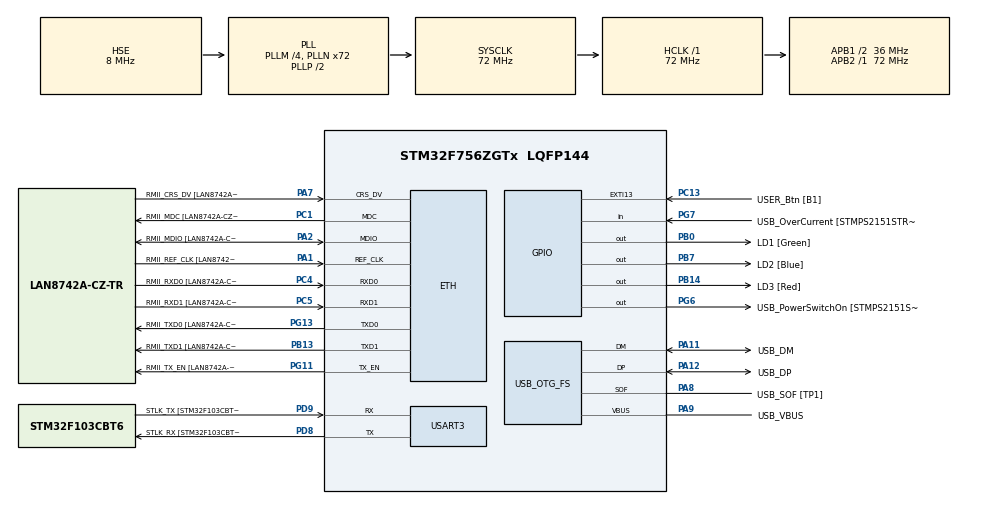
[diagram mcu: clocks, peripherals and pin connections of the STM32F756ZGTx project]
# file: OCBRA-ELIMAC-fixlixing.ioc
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ETH.MediaInterface=HAL_ETH_RMII_MODE
ETH.PHY_Name=LAN8742A_PHY_ADDRESS
ETH.PHY_Value=0
ETH.PhyAddress=0
Mcu.Family=STM32F7
Mcu.Name=STM32F756ZGTx
Mcu.Package=LQFP144
NVIC.PriorityGroup=NVIC_PRIORITYGROUP_4
PA1.GPIO_Label=RMII_REF_CLK [LAN8742A-CZ-TR_REFCLK0]
PA1.Mode=RMII
PA1.Signal=ETH_REF_CLK
PA10.GPIO_Label=USB_ID
PA10.Signal=USB_OTG_FS_ID
PA11.GPIO_Label=USB_DM
PA11.Mode=Device_Only
PA11.Signal=USB_OTG_FS_DM
PA12.GPIO_Label=USB_DP
PA12.Mode=Device_Only
PA12.Signal=USB_OTG_FS_DP
PA13.GPIO_Label=TMS
PA13.Mode=Serial_Wire
PA13.Signal=SYS_JTMS-SWDIO
PA14.GPIO_Label=TCK
PA14.Mode=Serial_Wire
PA14.Signal=SYS_JTCK-SWCLK
PA2.GPIO_Label=RMII_MDIO [LAN8742A-CZ-TR_MDIO]
PA2.Mode=RMII
PA2.Signal=ETH_MDIO
PA7.GPIO_Label=RMII_CRS_DV [LAN8742A-CZ-TR_CRS_DV]
PA7.Mode=RMII
PA7.Signal=ETH_CRS_DV
PA8.GPIO_Label=USB_SOF [TP1]
PA8.Mode=Activate_SOF_FS
PA8.Signal=USB_OTG_FS_SOF
PA9.GPIO_Label=USB_VBUS
PA9.Mode=Activate_VBUS
PA9.Signal=USB_OTG_FS_VBUS
PB0.GPIO_Label=LD1 [Green]
PB0.Signal=GPIO_Output
PB13.GPIO_Label=RMII_TXD1 [LAN8742A-CZ-TR_TXD1]
PB13.Mode=RMII
PB13.Signal=ETH_TXD1
PB14.GPIO_Label=LD3 [Red]
PB14.Signal=GPIO_Output
PB3.GPIO_Label=SW0
PB3.Signal=SYS_JTDO-SWO
PB7.GPIO_Label=LD2 [Blue]
PB7.Signal=GPIO_Output
PC1.GPIO_Label=RMII_MDC [LAN8742A-CZ-TR_MDC]
PC1.Mode=RMII
PC1.Signal=ETH_MDC
PC13.GPIO_Label=USER_Btn [B1]
PC13.Signal=GPXTI13
PC14/OSC32_IN.Mode=LSE-External-Oscillator
PC14/OSC32_IN.Signal=RCC_OSC32_IN
PC15/OSC32_OUT.Mode=LSE-External-Oscillator
PC15/OSC32_OUT.Signal=RCC_OSC32_OUT
PC4.GPIO_Label=RMII_RXD0 [LAN8742A-CZ-TR_RXD0]
PC4.Mode=RMII
PC4.Signal=ETH_RXD0
PC5.GPIO_Label=RMII_RXD1 [LAN8742A-CZ-TR_RXD1]
PC5.Mode=RMII
PC5.Signal=ETH_RXD1
PD8.GPIO_Label=STLK_RX [STM32F103CBT6_PA3]
PD8.Mode=Asynchronous
PD8.Signal=USART3_TX
PD9.GPIO_Label=STLK_TX [STM32F103CBT6_PA2]
PD9.Mode=Asynchronous
PD9.Signal=USART3_RX
PG11.GPIO_Label=RMII_TX_EN [LAN8742A-CZ-TR_TXEN]
PG11.Mode=RMII
PG11.Signal=ETH_TX_EN
PG13.GPIO_Label=RMII_TXD0 [LAN8742A-CZ-TR_TXD0]
PG13.Mode=RMII
PG13.Signal=ETH_TXD0
PG6.GPIO_Label=USB_PowerSwitchOn [STMPS2151STR_EN]
PG6.Signal=GPIO_Output
PG7.GPIO_Label=USB_OverCurrent [STMPS2151STR_FAULT]
PG7.Signal=GPIO_Input
PH0/OSC_IN.GPIO_Label=MCO [STM32F103CBT6_PA8]
PH0/OSC_IN.Mode=HSE-External-Clock-Source
PH0/OSC_IN.Signal=RCC_OSC_IN
PH1/OSC_OUT.Mode=HSE-External-Clock-Source
PH1/OSC_OUT.Signal=RCC_OSC_OUT
ProjectManager.HeapSize=0x200
ProjectManager.StackSize=0x400
ProjectManager.TargetToolchain=STM32CubeIDE
RCC.48MHZClocksFreq_Value=24000000
RCC.AHBFreq_Value=72000000
RCC.APB1CLKDivider=RCC_HCLK_DIV2
RCC.APB1Freq_Value=36000000
RCC.APB1TimFreq_Value=72000000
RCC.APB2Freq_Value=72000000
RCC.APB2TimFreq_Value=72000000
RCC.CortexFreq_Value=72000000
RCC.HCLKFreq_Value=72000000
RCC.HSE_VALUE=8000000
RCC.HSI_VALUE=16000000
RCC.PLLM=4
RCC.PLLMUL=RCC_PLL_MUL9
RCC.PLLN=72
RCC.PLLQ=3
RCC.PRESCALERUSB=RCC_USBCLKSOURCE_PLL_DIV1_5
RCC.SYSCLKFreq_VALUE=72000000
RCC.SYSCLKSource=RCC_SYSCLKSOURCE_PLLCLK
RCC.SYSCLKSourceVirtual=RCC_SYSCLKSOURCE_PLLCLK
RCC.USBFreq_Value=48000000
RCC.VCOOutputFreq_Value=144000000
USART3.VirtualMode-Asynchronous=VM_ASYNC
USB_OTG_FS.VirtualMode=Device_Only
board=NUCLEO-F756ZG

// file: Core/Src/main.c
/* USER CODE BEGIN Header */
/**
  ******************************************************************************
  * @file           : main.c
  * @brief          : Main program body
  ******************************************************************************
  * @attention
  *
  * Copyright (c) 2023 STMicroelectronics.
  * All rights reserved.
  *
  * This software is licensed under terms that can be found in the LICENSE file
  * in the root directory of this software component.
  * If no LICENSE file comes with this software, it is provided AS-IS.
  *
  ******************************************************************************
  */
/* USER CODE END Header */
#include "main.h"
#include "string.h"

/* USER CODE BEGIN Includes */
#include "EliMAC_OCBRA_fixlixing_AES/fixslicing/ELIMAC.h"
#include "EliMAC_OCBRA_fixlixing_AES/fixslicing/OCBRA.h"
#include "Serial.h"
#include "EliMAC_OCBRA_fixlixing_AES/fixslicing/OCB3.h"
/* USER CODE END Includes */

/* USER CODE BEGIN PD */
#define plaintext_size 4096
/* USER CODE END PD */

#if defined ( __ICCARM__ ) /*!< IAR Compiler */
#pragma location=0x2004c000
ETH_DMADescTypeDef  DMARxDscrTab[ETH_RX_DESC_CNT]; /* Ethernet Rx DMA Descriptors */
#pragma location=0x2004c0a0
ETH_DMADescTypeDef  DMATxDscrTab[ETH_TX_DESC_CNT]; /* Ethernet Tx DMA Descriptors */

#elif defined ( __CC_ARM )  /* MDK ARM Compiler */

__attribute__((at(0x2004c000))) ETH_DMADescTypeDef  DMARxDscrTab[ETH_RX_DESC_CNT]; /* Ethernet Rx DMA Descriptors */
__attribute__((at(0x2004c0a0))) ETH_DMADescTypeDef  DMATxDscrTab[ETH_TX_DESC_CNT]; /* Ethernet Tx DMA Descriptors */

#elif defined ( __GNUC__ ) /* GNU Compiler */
ETH_DMADescTypeDef DMARxDscrTab[ETH_RX_DESC_CNT] __attribute__((section(".RxDecripSection"))); /* Ethernet Rx DMA Descriptors */
ETH_DMADescTypeDef DMATxDscrTab[ETH_TX_DESC_CNT] __attribute__((section(".TxDecripSection")));   /* Ethernet Tx DMA Descriptors */

#endif

ETH_TxPacketConfig TxConfig;

ETH_HandleTypeDef heth;

UART_HandleTypeDef huart3;

PCD_HandleTypeDef hpcd_USB_OTG_FS;

void SystemClock_Config(void);
static void MX_GPIO_Init(void);
static void MX_ETH_Init(void);
static void MX_USART3_UART_Init(void);
static void MX_USB_OTG_FS_PCD_Init(void);

/* USER CODE BEGIN 0 */
#define  REP 30
#define  Number_test 7
#define  PLEN 2500
#define  ROUNDS 6

static unsigned char key1[16]={0x00,0x01,0x02,0x03, 0x04,0x05,0x06,0x07 ,0x08,0x09,0x0a,0x0b ,0x0c,0x0d,0x0e,0x0f};
static unsigned char key2[16]={0x00,0x01,0x02,0x03, 0x04,0x05,0x06,0x07 ,0x08,0x09,0x0a,0x0b ,0x0c,0x0d,0x0e,0x0f};
static unsigned char nonce[16]={0x00,0x01,0x02,0x03, 0x04,0x05,0x06,0x07 ,0x08,0x09,0x0a,0x0b ,0x0c,0x0d,0x0e,0x0f};
static unsigned char tag[16]={0,0,0,0, 0,0,0,0 ,0,0,0,0 ,0,0,0,0};
static unsigned char plaintext[plaintext_size];
static unsigned char ciphertext[plaintext_size];
static unsigned char asociated_data[plaintext_size];
static unsigned int bytes[7] = {32, 64, 128, 192, 256, 320, 512};

char buffer [1024];
unsigned int performance[REP];
void DWT_Init(void) {

    CoreDebug->DEMCR |= CoreDebug_DEMCR_TRCENA_Msk;
    DWT->LAR = 0xC5ACCE55;
    DWT->CYCCNT = 0;
    DWT->CTRL |= DWT_CTRL_CYCCNTENA_Msk;
}

void start_timer(void) {
    DWT->CYCCNT = 0;
}

uint32_t stop_timer(void) {
    return DWT->CYCCNT;
}

void print_array_2(uint8_t * plaintext, uint8_t size){

	for (int i= 0; i < size; i++) {
	  sprintf(buffer,"%02x ", plaintext[i]);
	  serial_printf(&huart3, (uint8_t *) buffer, HAL_MAX_DELAY);
	}
	sprintf(buffer,"\n");
	serial_printf(&huart3, (uint8_t *) buffer, HAL_MAX_DELAY);
}

/* USER CODE END 0 */

int main(void)
{

  /* MCU Configuration--------------------------------------------------------*/

  /* Reset of all peripherals, Initializes the Flash interface and the Systick. */
  HAL_Init();

  /* Configure the system clock */
  SystemClock_Config();

  /* Initialize all configured peripherals */
  MX_GPIO_Init();
  MX_ETH_Init();
  MX_USART3_UART_Init();
  MX_USB_OTG_FS_PCD_Init();
  /* USER CODE BEGIN 2 */

  for (size_t i = 0; i < plaintext_size; i++)
  {
	  plaintext[i] =i;
	  asociated_data[i]=i;
  }

  DWT_Init(); // Inicializar el contador de ciclos
  uint32_t cycles=0;
  uint32_t total_cycles=0;

  int i=0;

  cycles=0;
  total_cycles=0;
  sprintf(buffer,"\n ELIMAC ROUNDS %i", ROUNDS+4);
      serial_printf(&huart3, (uint8_t *) buffer, HAL_MAX_DELAY);
      for (int j = 0; j < Number_test; j++) {
          for (i = 0; i < REP; i++) {
              start_timer(); // Iniciar el contador de ciclos
              ELIMAC(plaintext, bytes[j], key1, key2, ROUNDS, tag);
              cycles = stop_timer(); // Detener el contador de ciclos y obtener el valor
              total_cycles=cycles+total_cycles;
          }
          performance[j] = total_cycles/REP;
          total_cycles=0;
      }
      for (i = 0; i < Number_test; i++) {
    	    sprintf(buffer,"\n bytes %u ", bytes[i]);
    	    serial_printf(&huart3, (uint8_t *) buffer, HAL_MAX_DELAY);
			sprintf(buffer, "\n %d:   cycle : %u  ", i, performance[i] );
			serial_printf(&huart3, (uint8_t *) buffer, HAL_MAX_DELAY);
	   }

      for (size_t i = 0; i < plaintext_size; i++){
    	   plaintext[i] =i;
    	   asociated_data[i]=i;
       }

    i=0;
    cycles=0;
    total_cycles=0;
	sprintf(buffer,"\n PMAC-OCBRA");
		serial_printf(&huart3, (uint8_t *) buffer, HAL_MAX_DELAY);
		for (int j = 0; j < Number_test; j++) {
			for (i = 0; i < REP; i++) {
				start_timer(); // Iniciar el contador de ciclos
				PMAC(nonce, asociated_data, bytes[j], key1, tag);
				cycles = stop_timer(); // Detener el contador de ciclos y obtener el valor
				  total_cycles=cycles+total_cycles;
			  }
			  performance[j] = total_cycles/REP;
			  total_cycles=0;
		  }
	  for (i = 0; i < Number_test; i++) {
			sprintf(buffer,"\n bytes %u ", bytes[i]);
			serial_printf(&huart3, (uint8_t *) buffer, HAL_MAX_DELAY);
			sprintf(buffer, "\n %d:   cycle : %u  ", i, performance[i] );
			serial_printf(&huart3, (uint8_t *) buffer, HAL_MAX_DELAY);
	   }

	  i=0;
	  cycles=0;
	  total_cycles=0;
	  for (size_t i = 0; i < plaintext_size; i++)
		  {
			  plaintext[i] =i;
			  asociated_data[i]=i;
		  }
		   i=0;
		   cycles=0;
		   total_cycles=0;
			sprintf(buffer,"\n PMAC_1");
				serial_printf(&huart3, (uint8_t *) buffer, HAL_MAX_DELAY);
				for (int j = 0; j < Number_test; j++) {
					for (i = 0; i < REP; i++) {
						start_timer(); // Iniciar el contador de ciclos
						PMAC_1(nonce, asociated_data, bytes[j], key1, tag);
						cycles = stop_timer(); // Detener el contador de ciclos y obtener el valor
					    total_cycles=cycles+total_cycles;
				    }
			  performance[j] = total_cycles/REP;
			  total_cycles=0;
			  }
		  for (i = 0; i < Number_test; i++) {
				sprintf(buffer,"\n bytes %u ", bytes[i]);
				serial_printf(&huart3, (uint8_t *) buffer, HAL_MAX_DELAY);
				sprintf(buffer, "\n %d:   cycle : %u  ", i, performance[i] );
				serial_printf(&huart3, (uint8_t *) buffer, HAL_MAX_DELAY);
		   }

	  for (size_t i = 0; i < plaintext_size; i++)
		  {
			  plaintext[i] =i;
			  asociated_data[i]=i;
		  }
		i=0;
		cycles=0;
		total_cycles=0;
		sprintf(buffer,"\n OCBRA ENC");
			serial_printf(&huart3, (uint8_t *) buffer, HAL_MAX_DELAY);
			for (int j = 0; j < Number_test; j++) {
				for (i = 0; i < REP; i++) {
					start_timer(); // Iniciar el contador de ciclos
					OCB(plaintext, ciphertext, nonce, asociated_data, bytes[j], 0, key1, tag);
					cycles = stop_timer(); // Detener el contador de ciclos y obtener el valor
					total_cycles=cycles+total_cycles;
				  }
				  performance[j] = total_cycles/REP;
				  total_cycles=0;
			  }
		  for (i = 0; i < Number_test; i++) {
				sprintf(buffer,"\n bytes %u ", bytes[i]);
				serial_printf(&huart3, (uint8_t *) buffer, HAL_MAX_DELAY);
				sprintf(buffer, "\n %d:   cycle : %u  ", i, performance[i] );
				serial_printf(&huart3, (uint8_t *) buffer, HAL_MAX_DELAY);
		   }

	  for (size_t i = 0; i < plaintext_size; i++)
	  {
		  plaintext[i] =i;
		  asociated_data[i]=i;
	  }

	i=0;
	cycles=0;
	total_cycles=0;
	sprintf(buffer,"\n OCBRA+PMACRA ENC");
		serial_printf(&huart3, (uint8_t *) buffer, HAL_MAX_DELAY);
		for (int j = 0; j < Number_test; j++) {
			for (i = 0; i < REP; i++) {
				start_timer(); // Iniciar el contador de ciclos
				OCB(plaintext, ciphertext, nonce, asociated_data, bytes[j], bytes[j], key1, tag);
				cycles = stop_timer(); // Detener el contador de ciclos y obtener el valor
				total_cycles=cycles+total_cycles;
			}
			performance[j] = total_cycles/REP;
			total_cycles=0;
		}
	  for (i = 0; i < Number_test; i++) {
			sprintf(buffer,"\n bytes %u ", bytes[i]);
			serial_printf(&huart3, (uint8_t *) buffer, HAL_MAX_DELAY);
			sprintf(buffer, "\n %d:   cycle : %u  ", i, performance[i] );
			serial_printf(&huart3, (uint8_t *) buffer, HAL_MAX_DELAY);
	   }

			for (size_t i = 0; i < plaintext_size; i++)
			{
			  plaintext[i] =i;
			  asociated_data[i]=i;
			}

	  	  	i=0;
	  	  	cycles=0;
	  	  	total_cycles=0;
	  	  	sprintf(buffer,"\n PMAC-OCB3");
	  	  		serial_printf(&huart3, (uint8_t *) buffer, HAL_MAX_DELAY);
	  	  		for (int j = 0; j < Number_test; j++) {
	  	  			for (i = 0; i < REP; i++) {
	  	  				start_timer(); // Iniciar el contador de ciclos
	  	  				OCB3(plaintext, ciphertext, nonce, asociated_data, 0, 12, bytes[j], key1, tag);
	  	  				cycles = stop_timer(); // Detener el contador de ciclos y obtener el valor
	  	  				total_cycles=cycles+total_cycles;
	  	  			}
	  	  			performance[j] = total_cycles/REP;
	  	  			total_cycles=0;
	  	  		}
	  	  	  for (i = 0; i < Number_test; i++) {
	  	  			sprintf(buffer,"\n bytes %u ", bytes[i]);
	  	  			serial_printf(&huart3, (uint8_t *) buffer, HAL_MAX_DELAY);
	  	  			sprintf(buffer, "\n %d:   cycle : %u  ", i, performance[i] );
	  	  			serial_printf(&huart3, (uint8_t *) buffer, HAL_MAX_DELAY);
	  	  	   }
		for (size_t i = 0; i < plaintext_size; i++)
		{
		  plaintext[i] =i;
		  asociated_data[i]=i;
		}
		i=0;
	  	cycles=0;
	  	total_cycles=0;
	  	sprintf(buffer,"\n OCB3+PMAC ENC");
	  		serial_printf(&huart3, (uint8_t *) buffer, HAL_MAX_DELAY);
	  		for (int j = 0; j < Number_test; j++) {
	  			for (i = 0; i < REP; i++) {
	  				start_timer(); // Iniciar el contador de ciclos
	  				OCB3(plaintext, ciphertext, nonce, asociated_data, bytes[j], 12, bytes[j], key1, tag);
	  				cycles = stop_timer(); // Detener el contador de ciclos y obtener el valor
	  				total_cycles=cycles+total_cycles;
	  			}
	  			performance[j] = total_cycles/REP;
	  			total_cycles=0;
	  		}
	  	  for (i = 0; i < Number_test; i++) {
	  			sprintf(buffer,"\n bytes %u ", bytes[i]);
	  			serial_printf(&huart3, (uint8_t *) buffer, HAL_MAX_DELAY);
	  			sprintf(buffer, "\n %d:   cycle : %u  ", i, performance[i] );
	  			serial_printf(&huart3, (uint8_t *) buffer, HAL_MAX_DELAY);
	  	   }

	  	for (size_t i = 0; i < plaintext_size; i++)
	  			{
	  			  plaintext[i] =i;
	  			  asociated_data[i]=i;
	  			}
	  			i=0;
	  		  	cycles=0;
	  		  	total_cycles=0;
	  		  	sprintf(buffer,"\n OCB3 ENC");
	  		  		serial_printf(&huart3, (uint8_t *) buffer, HAL_MAX_DELAY);
	  		  		for (int j = 0; j < Number_test; j++) {
	  		  			for (i = 0; i < REP; i++) {
	  		  				start_timer(); // Iniciar el contador de ciclos
	  		  				OCB3(plaintext, ciphertext, nonce, asociated_data, bytes[j], 12, 0, key1, tag);
	  		  				cycles = stop_timer(); // Detener el contador de ciclos y obtener el valor
	  		  				total_cycles=cycles+total_cycles;
	  		  			}
	  		  			performance[j] = total_cycles/REP;
	  		  			total_cycles=0;
	  		  		}
	  		  	  for (i = 0; i < Number_test; i++) {
	  		  			sprintf(buffer,"\n bytes %u ", bytes[i]);
	  		  			serial_printf(&huart3, (uint8_t *) buffer, HAL_MAX_DELAY);
	  		  			sprintf(buffer, "\n %d:   cycle : %u  ", i, performance[i] );
	  		  			serial_printf(&huart3, (uint8_t *) buffer, HAL_MAX_DELAY);
	  		  	   }

  /* USER CODE END 2 */

  /* Infinite loop */

}

void SystemClock_Config(void)
{
  RCC_OscInitTypeDef RCC_OscInitStruct = {0};
  RCC_ClkInitTypeDef RCC_ClkInitStruct = {0};

  /** Configure LSE Drive Capability
  */
  HAL_PWR_EnableBkUpAccess();

  /** Configure the main internal regulator output voltage
  */
  __HAL_RCC_PWR_CLK_ENABLE();
  __HAL_PWR_VOLTAGESCALING_CONFIG(PWR_REGULATOR_VOLTAGE_SCALE3);

  /** Initializes the RCC Oscillators according to the specified parameters
  * in the RCC_OscInitTypeDef structure.
  */
  RCC_OscInitStruct.OscillatorType = RCC_OSCILLATORTYPE_HSE;
  RCC_OscInitStruct.HSEState = RCC_HSE_BYPASS;
  RCC_OscInitStruct.PLL.PLLState = RCC_PLL_ON;
  RCC_OscInitStruct.PLL.PLLSource = RCC_PLLSOURCE_HSE;
  RCC_OscInitStruct.PLL.PLLM = 4;
  RCC_OscInitStruct.PLL.PLLN = 72;
  RCC_OscInitStruct.PLL.PLLP = RCC_PLLP_DIV2;
  RCC_OscInitStruct.PLL.PLLQ = 3;
  if (HAL_RCC_OscConfig(&RCC_OscInitStruct) != HAL_OK)
  {
    Error_Handler();
  }

  /** Initializes the CPU, AHB and APB buses clocks
  */
  RCC_ClkInitStruct.ClockType = RCC_CLOCKTYPE_HCLK|RCC_CLOCKTYPE_SYSCLK
                              |RCC_CLOCKTYPE_PCLK1|RCC_CLOCKTYPE_PCLK2;
  RCC_ClkInitStruct.SYSCLKSource = RCC_SYSCLKSOURCE_PLLCLK;
  RCC_ClkInitStruct.AHBCLKDivider = RCC_SYSCLK_DIV1;
  RCC_ClkInitStruct.APB1CLKDivider = RCC_HCLK_DIV2;
  RCC_ClkInitStruct.APB2CLKDivider = RCC_HCLK_DIV1;

  if (HAL_RCC_ClockConfig(&RCC_ClkInitStruct, FLASH_LATENCY_2) != HAL_OK)
  {
    Error_Handler();
  }
}

static void MX_ETH_Init(void)
{

   static uint8_t MACAddr[6];

  heth.Instance = ETH;
  MACAddr[0] = 0x00;
  MACAddr[1] = 0x80;
  MACAddr[2] = 0xE1;
  MACAddr[3] = 0x00;
  MACAddr[4] = 0x00;
  MACAddr[5] = 0x00;
  heth.Init.MACAddr = &MACAddr[0];
  heth.Init.MediaInterface = HAL_ETH_RMII_MODE;
  heth.Init.TxDesc = DMATxDscrTab;
  heth.Init.RxDesc = DMARxDscrTab;
  heth.Init.RxBuffLen = 1524;

  if (HAL_ETH_Init(&heth) != HAL_OK)
  {
    Error_Handler();
  }

  memset(&TxConfig, 0 , sizeof(ETH_TxPacketConfig));
  TxConfig.Attributes = ETH_TX_PACKETS_FEATURES_CSUM | ETH_TX_PACKETS_FEATURES_CRCPAD;
  TxConfig.ChecksumCtrl = ETH_CHECKSUM_IPHDR_PAYLOAD_INSERT_PHDR_CALC;
  TxConfig.CRCPadCtrl = ETH_CRC_PAD_INSERT;

}

static void MX_USART3_UART_Init(void)
{

  huart3.Instance = USART3;
  huart3.Init.BaudRate = 115200;
  huart3.Init.WordLength = UART_WORDLENGTH_8B;
  huart3.Init.StopBits = UART_STOPBITS_1;
  huart3.Init.Parity = UART_PARITY_NONE;
  huart3.Init.Mode = UART_MODE_TX_RX;
  huart3.Init.HwFlowCtl = UART_HWCONTROL_NONE;
  huart3.Init.OverSampling = UART_OVERSAMPLING_16;
  huart3.Init.OneBitSampling = UART_ONE_BIT_SAMPLE_DISABLE;
  huart3.AdvancedInit.AdvFeatureInit = UART_ADVFEATURE_NO_INIT;
  if (HAL_UART_Init(&huart3) != HAL_OK)
  {
    Error_Handler();
  }

}

static void MX_USB_OTG_FS_PCD_Init(void)
{

  hpcd_USB_OTG_FS.Instance = USB_OTG_FS;
  hpcd_USB_OTG_FS.Init.dev_endpoints = 6;
  hpcd_USB_OTG_FS.Init.speed = PCD_SPEED_FULL;
  hpcd_USB_OTG_FS.Init.dma_enable = DISABLE;
  hpcd_USB_OTG_FS.Init.phy_itface = PCD_PHY_EMBEDDED;
  hpcd_USB_OTG_FS.Init.Sof_enable = ENABLE;
  hpcd_USB_OTG_FS.Init.low_power_enable = DISABLE;
  hpcd_USB_OTG_FS.Init.lpm_enable = DISABLE;
  hpcd_USB_OTG_FS.Init.vbus_sensing_enable = ENABLE;
  hpcd_USB_OTG_FS.Init.use_dedicated_ep1 = DISABLE;
  if (HAL_PCD_Init(&hpcd_USB_OTG_FS) != HAL_OK)
  {
    Error_Handler();
  }

}

static void MX_GPIO_Init(void)
{
  GPIO_InitTypeDef GPIO_InitStruct = {0};

  /* GPIO Ports Clock Enable */
  __HAL_RCC_GPIOC_CLK_ENABLE();
  __HAL_RCC_GPIOH_CLK_ENABLE();
  __HAL_RCC_GPIOA_CLK_ENABLE();
  __HAL_RCC_GPIOB_CLK_ENABLE();
  __HAL_RCC_GPIOD_CLK_ENABLE();
  __HAL_RCC_GPIOG_CLK_ENABLE();

  /*Configure GPIO pin Output Level */
  HAL_GPIO_WritePin(GPIOB, LD1_Pin|LD3_Pin|LD2_Pin, GPIO_PIN_RESET);

  /*Configure GPIO pin Output Level */
  HAL_GPIO_WritePin(USB_PowerSwitchOn_GPIO_Port, USB_PowerSwitchOn_Pin, GPIO_PIN_RESET);

  /*Configure GPIO pin : USER_Btn_Pin */
  GPIO_InitStruct.Pin = USER_Btn_Pin;
  GPIO_InitStruct.Mode = GPIO_MODE_IT_RISING;
  GPIO_InitStruct.Pull = GPIO_NOPULL;
  HAL_GPIO_Init(USER_Btn_GPIO_Port, &GPIO_InitStruct);

  /*Configure GPIO pins : LD1_Pin LD3_Pin LD2_Pin */
  GPIO_InitStruct.Pin = LD1_Pin|LD3_Pin|LD2_Pin;
  GPIO_InitStruct.Mode = GPIO_MODE_OUTPUT_PP;
  GPIO_InitStruct.Pull = GPIO_NOPULL;
  GPIO_InitStruct.Speed = GPIO_SPEED_FREQ_LOW;
  HAL_GPIO_Init(GPIOB, &GPIO_InitStruct);

  /*Configure GPIO pin : USB_PowerSwitchOn_Pin */
  GPIO_InitStruct.Pin = USB_PowerSwitchOn_Pin;
  GPIO_InitStruct.Mode = GPIO_MODE_OUTPUT_PP;
  GPIO_InitStruct.Pull = GPIO_NOPULL;
  GPIO_InitStruct.Speed = GPIO_SPEED_FREQ_LOW;
  HAL_GPIO_Init(USB_PowerSwitchOn_GPIO_Port, &GPIO_InitStruct);

  /*Configure GPIO pin : USB_OverCurrent_Pin */
  GPIO_InitStruct.Pin = USB_OverCurrent_Pin;
  GPIO_InitStruct.Mode = GPIO_MODE_INPUT;
  GPIO_InitStruct.Pull = GPIO_NOPULL;
  HAL_GPIO_Init(USB_OverCurrent_GPIO_Port, &GPIO_InitStruct);

}

void Error_Handler(void)
{
  __disable_irq();
  while (1)
  {
  }
}
